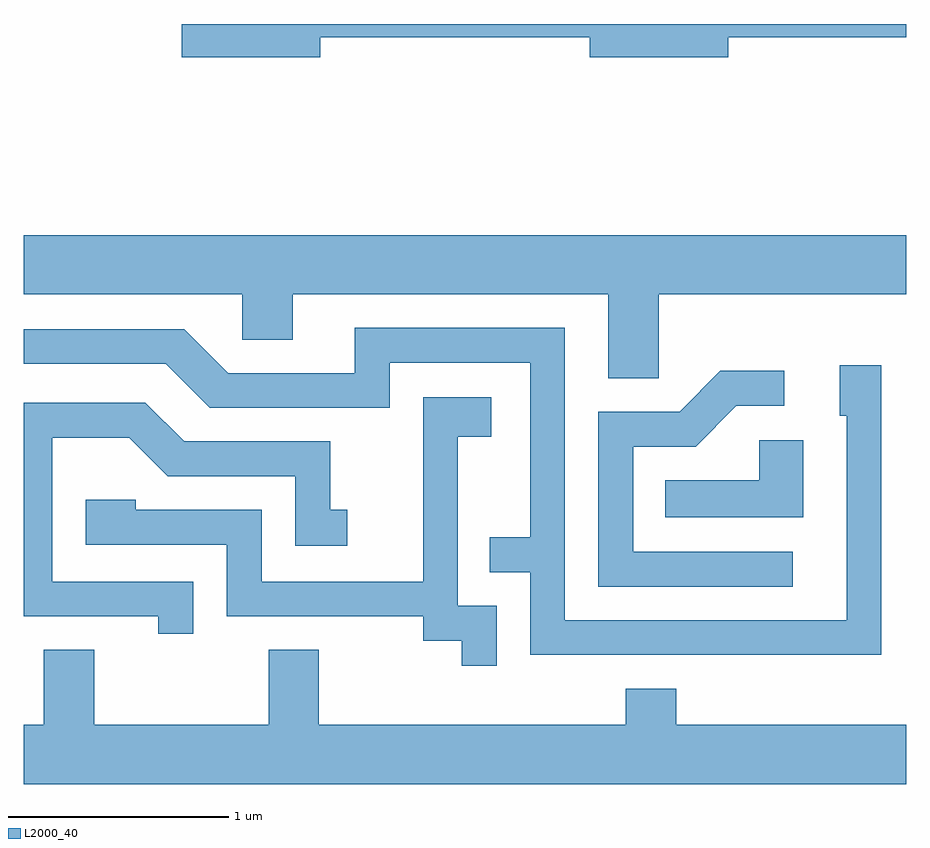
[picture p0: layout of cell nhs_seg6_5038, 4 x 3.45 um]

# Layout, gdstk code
import gdstk
lib = gdstk.Library(unit=1e-6, precision=1e-09)
def P(c, l, *ps):  # polygons
    for p in ps: c.add(gdstk.Polygon(p, *l))
L2000_40 = (2000, 40)

nhs_seg6_5038 = lib.new_cell('nhs_seg6_5038')
P(nhs_seg6_5038, L2000_40, [(340.954,1540.101),(342.176,1540.101),(342.176,1540.011),(342.804,1540.011),(342.804,1540.101),(343.611,1540.101),(343.611,1540.162),(340.326,1540.162),(340.326,1540.011),(340.954,1540.011)],
  [(342.489,1538.936),(343.611,1538.936),(343.611,1539.204),(339.611,1539.204),(339.611,1538.936),(340.601,1538.936),(340.601,1538.731),(340.829,1538.731),(340.829,1538.936),(342.261,1538.936),(342.261,1538.556),(342.489,1538.556)],
  [(343.499,1538.614),(343.311,1538.614),(343.311,1538.386),(343.341,1538.386),(343.341,1537.459),(342.064,1537.459),(342.064,1538.784),(341.111,1538.784),(341.111,1538.579),(340.537,1538.579),(340.337,1538.779),(339.611,1538.779),(339.611,1538.621),(340.254,1538.621),(340.454,1538.421),(341.269,1538.421),(341.269,1538.626),(341.906,1538.626),(341.906,1537.834),(341.723,1537.834),(341.723,1537.676),(341.906,1537.676),(341.906,1537.301),(343.499,1537.301)],
  [(343.098,1537.769),(342.374,1537.769),(342.374,1538.246),(342.657,1538.246),(342.842,1538.431),(343.058,1538.431),(343.058,1538.589),(342.769,1538.589),(342.584,1538.404),(342.216,1538.404),(342.216,1537.611),(343.098,1537.611)],
  [(341.754,1537.524),(341.579,1537.524),(341.579,1538.291),(341.729,1538.291),(341.729,1538.469),(341.421,1538.469),(341.421,1537.634),(340.689,1537.634),(340.689,1537.959),(340.119,1537.959),(340.119,1538.004),(339.891,1538.004),(339.891,1537.801),(340.531,1537.801),(340.531,1537.476),(341.421,1537.476),(341.421,1537.366),(341.596,1537.366),(341.596,1537.253),(341.754,1537.253)],
  [(340.379,1537.634),(339.739,1537.634),(339.739,1538.286),(340.089,1538.286),(340.264,1538.111),(340.841,1538.111),(340.841,1537.796),(341.078,1537.796),(341.078,1537.959),(340.999,1537.959),(340.999,1538.269),(340.337,1538.269),(340.162,1538.444),(339.611,1538.444),(339.611,1537.476),(340.221,1537.476),(340.221,1537.398),(340.379,1537.398)],
  [(343.144,1538.274),(342.946,1538.274),(342.946,1538.094),(342.518,1538.094),(342.518,1537.926),(343.144,1537.926)],
  [(343.611,1536.984),(342.569,1536.984),(342.569,1537.149),(342.341,1537.149),(342.341,1536.984),(340.949,1536.984),(340.949,1537.324),(340.721,1537.324),(340.721,1536.984),(339.929,1536.984),(339.929,1537.324),(339.701,1537.324),(339.701,1536.984),(339.611,1536.984),(339.611,1536.716),(343.611,1536.716)])

lib.write_gds('nhs_seg6_5038.gds')
